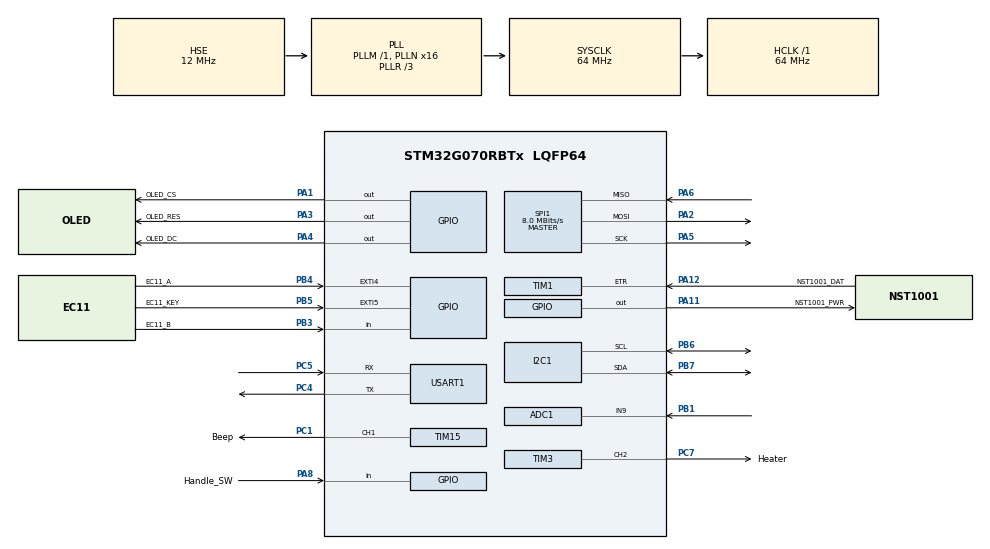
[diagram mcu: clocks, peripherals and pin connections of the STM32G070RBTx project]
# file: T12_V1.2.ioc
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ADC1.ContinuousConvMode=ENABLE
ADC1.NbrOfConversion=1
ADC1.NbrOfConversionFlag=0
ADC1.Overrun=ADC_OVR_DATA_OVERWRITTEN
ADC1.SamplingTimeCommon1=ADC_SAMPLETIME_1CYCLE_5
ADC1.SelectedChannel=ADC_CHANNEL_9
ADC1.Sequencer=NOT_FULLY_CONFIGURABLE
ADC1.master=1
FREERTOS.Tasks01=OLEDTask,-2,512,StartOLEDTask,Default,NULL,Dynamic,NULL,NULL;BeepTask,0,256,StartBeepTask,Default,NULL,Dynamic,NULL,NULL;TempTask,0,256,StartTempTask,Default,NULL,Dynamic,NULL,NULL;EEPROMTask,2,256,StartEEPROMTask,Default,NULL,Dynamic,NULL,NULL;PIDTask,3,256,StartPIDTask,Default,NULL,Dynamic,NULL,NULL
FREERTOS.configTOTAL_HEAP_SIZE=15360
I2C1.Timing=0x10707DBC
Mcu.Family=STM32G0
Mcu.Name=STM32G070RBTx
Mcu.Package=LQFP64
NVIC.EXTI4_15_IRQn=true\:3\:0\:false\:false\:true\:false\:true\:true\:true
NVIC.TIM17_IRQn=true\:3\:0\:false\:false\:true\:false\:false\:true\:true
NVIC.TimeBase=TIM17_IRQn
NVIC.TimeBaseIP=TIM17
PA1.GPIO_Label=OLED_CS
PA1.Signal=GPIO_Output
PA11\ [PA9].GPIO_Label=NST1001_PWR
PA11\ [PA9].GPIO_PuPd=GPIO_PULLUP
PA11\ [PA9].Signal=GPIO_Output
PA12\ [PA10].GPIO_Label=NST1001_DAT
PA12\ [PA10].Signal=S_TIM1_ETR
PA13.Mode=Serial_Wire
PA13.Signal=SYS_SWDIO
PA14-BOOT0.Mode=Serial_Wire
PA14-BOOT0.Signal=SYS_SWCLK
PA2.Mode=Full_Duplex_Master
PA2.Signal=SPI1_MOSI
PA3.GPIO_Label=OLED_RES
PA3.Signal=GPIO_Output
PA4.GPIO_Label=OLED_DC
PA4.Signal=GPIO_Output
PA5.Mode=Full_Duplex_Master
PA5.Signal=SPI1_SCK
PA6.Mode=Full_Duplex_Master
PA6.Signal=SPI1_MISO
PA8.GPIO_Label=Handle_SW
PA8.Signal=GPIO_Input
PB1.Mode=IN9
PB1.Signal=ADC1_IN9
PB3.GPIO_Label=EC11_B
PB3.Signal=GPIO_Input
PB4.GPIO_Label=EC11_A
PB4.GPIO_ModeDefaultEXTI=GPIO_MODE_IT_FALLING
PB4.GPIO_PuPd=GPIO_PULLUP
PB4.Signal=GPXTI4
PB5.GPIO_Label=EC11_KEY
PB5.GPIO_PuPd=GPIO_PULLDOWN
PB5.Signal=GPXTI5
PB6.GPIO_Pu=GPIO_PULLUP
PB6.Mode=I2C
PB6.Signal=I2C1_SCL
PB7.GPIO_Pu=GPIO_PULLUP
PB7.Mode=I2C
PB7.Signal=I2C1_SDA
PC1.GPIO_Label=Beep
PC1.Signal=S_TIM15_CH1
PC4.Mode=Asynchronous
PC4.Signal=USART1_TX
PC5.Mode=Asynchronous
PC5.Signal=USART1_RX
PC7.GPIO_Label=Heater
PC7.Signal=S_TIM3_CH2
PF0-OSC_IN\ (PF0).Mode=HSE-External-Oscillator
PF0-OSC_IN\ (PF0).Signal=RCC_OSC_IN
PF1-OSC_OUT\ (PF1).Mode=HSE-External-Oscillator
PF1-OSC_OUT\ (PF1).Signal=RCC_OSC_OUT
ProjectManager.HeapSize=0x200
ProjectManager.StackSize=0x400
ProjectManager.TargetToolchain=STM32CubeIDE
RCC.ADCFreq_Value=64000000
RCC.AHBFreq_Value=64000000
RCC.CortexFreq_Value=64000000
RCC.EXTERNAL_CLOCK_VALUE=48000
RCC.HCLKFreq_Value=64000000
RCC.HSE_VALUE=12000000
RCC.HSI_VALUE=16000000
RCC.LSE_VALUE=32768
RCC.PLLN=16
RCC.PLLR=RCC_PLLR_DIV3
RCC.PLLSourceVirtual=RCC_PLLSOURCE_HSE
RCC.SYSCLKFreq_VALUE=64000000
RCC.SYSCLKSource=RCC_SYSCLKSOURCE_PLLCLK
RCC.VCOOutputFreq_Value=192000000
SH.S_TIM15_CH1.0=TIM15_CH1,PWM Generation1 CH1
SH.S_TIM1_ETR.0=TIM1_ETR,ClockSourceETR_Mode2
SH.S_TIM3_CH2.0=TIM3_CH2,PWM Generation2 CH2
SPI1.BaudRatePrescaler=SPI_BAUDRATEPRESCALER_8
SPI1.CalculateBaudRate=8.0 MBits/s
SPI1.DataSize=SPI_DATASIZE_8BIT
SPI1.Direction=SPI_DIRECTION_2LINES
SPI1.Mode=SPI_MODE_MASTER
SPI1.VirtualType=VM_MASTER
TIM15.Channel-PWM\ Generation1\ CH1=TIM_CHANNEL_1
TIM15.Period=500-1
TIM15.Prescaler=128-1
TIM15.Pulse-PWM\ Generation1\ CH1=250-1
TIM3.Channel-PWM\ Generation2\ CH2=TIM_CHANNEL_2
TIM3.Period=1000-1
TIM3.Prescaler=128-1
TIM3.Pulse-PWM\ Generation2\ CH2=10
USART1.VirtualMode-Asynchronous=VM_ASYNC
VP_FREERTOS_VS_CMSIS_V1.Mode=CMSIS_V1
VP_SYS_VS_DBSignals.Mode=DisableDeadBatterySignals
VP_SYS_VS_tim17.Mode=TIM17
board=custom

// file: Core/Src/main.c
/* USER CODE BEGIN Header */
/**
  ******************************************************************************
  * @file           : main.c
  * @brief          : Main program body
  ******************************************************************************
  * @attention
  *
  * Copyright (c) 2022 STMicroelectronics.
  * All rights reserved.
  *
  * This software is licensed under terms that can be found in the LICENSE file
  * in the root directory of this software component.
  * If no LICENSE file comes with this software, it is provided AS-IS.
  *
  ******************************************************************************
  */
/* USER CODE END Header */
#include "main.h"
#include "cmsis_os.h"
#include "adc.h"
#include "i2c.h"
#include "spi.h"
#include "tim.h"
#include "usart.h"
#include "gpio.h"

void SystemClock_Config(void);
void MX_FREERTOS_Init(void);

int main(void)
{

  /* MCU Configuration--------------------------------------------------------*/

  /* Reset of all peripherals, Initializes the Flash interface and the Systick. */
  HAL_Init();

  /* Configure the system clock */
  SystemClock_Config();

  /* Initialize all configured peripherals */
  MX_GPIO_Init();
  MX_ADC1_Init();
  MX_I2C1_Init();
  MX_SPI1_Init();
  MX_TIM1_Init();
  MX_TIM3_Init();
  MX_TIM15_Init();
  MX_USART1_UART_Init();

  /* Call init function for freertos objects (in freertos.c) */
  MX_FREERTOS_Init();

  /* Start scheduler */
  osKernelStart();

  /* We should never get here as control is now taken by the scheduler */
  /* Infinite loop */
  while (1)
  {

  }
}

void SystemClock_Config(void)
{
  RCC_OscInitTypeDef RCC_OscInitStruct = {0};
  RCC_ClkInitTypeDef RCC_ClkInitStruct = {0};

  /** Configure the main internal regulator output voltage
  */
  HAL_PWREx_ControlVoltageScaling(PWR_REGULATOR_VOLTAGE_SCALE1);

  /** Initializes the RCC Oscillators according to the specified parameters
  * in the RCC_OscInitTypeDef structure.
  */
  RCC_OscInitStruct.OscillatorType = RCC_OSCILLATORTYPE_HSE;
  RCC_OscInitStruct.HSEState = RCC_HSE_ON;
  RCC_OscInitStruct.PLL.PLLState = RCC_PLL_ON;
  RCC_OscInitStruct.PLL.PLLSource = RCC_PLLSOURCE_HSE;
  RCC_OscInitStruct.PLL.PLLM = RCC_PLLM_DIV1;
  RCC_OscInitStruct.PLL.PLLN = 16;
  RCC_OscInitStruct.PLL.PLLP = RCC_PLLP_DIV2;
  RCC_OscInitStruct.PLL.PLLR = RCC_PLLR_DIV3;
  if (HAL_RCC_OscConfig(&RCC_OscInitStruct) != HAL_OK)
  {
    Error_Handler();
  }

  /** Initializes the CPU, AHB and APB buses clocks
  */
  RCC_ClkInitStruct.ClockType = RCC_CLOCKTYPE_HCLK|RCC_CLOCKTYPE_SYSCLK
                              |RCC_CLOCKTYPE_PCLK1;
  RCC_ClkInitStruct.SYSCLKSource = RCC_SYSCLKSOURCE_PLLCLK;
  RCC_ClkInitStruct.AHBCLKDivider = RCC_SYSCLK_DIV1;
  RCC_ClkInitStruct.APB1CLKDivider = RCC_HCLK_DIV1;

  if (HAL_RCC_ClockConfig(&RCC_ClkInitStruct, FLASH_LATENCY_2) != HAL_OK)
  {
    Error_Handler();
  }
}

void HAL_TIM_PeriodElapsedCallback(TIM_HandleTypeDef *htim)
{
  if (htim->Instance == TIM17) {
    HAL_IncTick();
  }
}

void Error_Handler(void)
{
  __disable_irq();
  while (1)
  {
  }
}

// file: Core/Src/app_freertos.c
/* USER CODE BEGIN Header */
/**
  ******************************************************************************
  * File Name          : app_freertos.c
  * Description        : Code for freertos applications
  ******************************************************************************
  * @attention
  *
  * Copyright (c) 2022 STMicroelectronics.
  * All rights reserved.
  *
  * This software is licensed under terms that can be found in the LICENSE file
  * in the root directory of this software component.
  * If no LICENSE file comes with this software, it is provided AS-IS.
  *
  ******************************************************************************
  */
/* USER CODE END Header */

#include "FreeRTOS.h"
#include "task.h"
#include "main.h"
#include "cmsis_os.h"

/* USER CODE BEGIN Includes */
#include "logging.h"
#include "stdio.h"
#include "tim.h"
#include "adc.h"
#include "nst1001.h"
#include "OLED_u8g2.h"
#include "emoji.h"
#include "icon.h"
#include "ee24.h"
#include "PID.h"
/* USER CODE END Includes */

/* USER CODE BEGIN PD */
#define PAGE_HOME       1
#define PAGE_SETTINGS   2
#define PAGE_DORMANCY   3
#define PAGE_SETTINGS_1 4
#define PAGE_SETTINGS_2 5
#define PAGE_SETTINGS_3 6
/* USER CODE END PD */

/* USER CODE BEGIN PM */
int OLED_Return();
/* USER CODE END PM */

/* USER CODE BEGIN Variables */
enum LOGGING_LEVEL LOG_LEVEL = LOGGING_LEVEL_FATAL;
uint8_t Global_Beep_Enable = 1;
uint8_t Global_Beep = 0;

uint8_t Global_WriteEEPROM = 0;

uint16_t Global_Dormancy_Time = 300;
uint8_t Global_Dormancy_Temp = 150;
uint16_t Global_DormancyCNT = 0;
uint8_t Global_Dormancy = 0;

uint8_t Global_OLED_SW = 1;
uint8_t Global_OLED_Pause = 0;
uint8_t Global_OLED_Input = 0;
uint8_t Global_OLED_Time = 0;

extern uint8_t Global_PID_P;
extern uint8_t Global_PID_I;
extern uint8_t Global_PID_D;

double Target_vol;
double Room_Temp = 0;
uint16_t Target_Temp = 0;
uint16_t Heater_Temp = 0;

int16_t PWM_DC = 0;

MENU_T menu_lists[] = {
        {.id=0, .level=0, .text_info="Temperature", .last=&menu_lists[2], .next=&menu_lists[1], .sub_menus=&menu_lists[3], .func=NULL},
        {.id=1, .level=0, .text_info="Interact"   , .last=&menu_lists[0], .next=&menu_lists[2], .sub_menus=&menu_lists[7], .func=NULL},
        {.id=2, .level=0, .text_info="Dormancy"   , .last=&menu_lists[1], .next=&menu_lists[0], .sub_menus=&menu_lists[9], .func=NULL},

        {.id=0, .level=1, .text_info="Return",.last=NULL          , .next=&menu_lists[4], .sub_menus=&menu_lists[0], .func=OLED_Return},
        {.id=1, .level=1, .text_info="P"     ,.last=&menu_lists[3], .next=&menu_lists[5], .sub_menus=&menu_lists[3], .func=NULL},
        {.id=2, .level=1, .text_info="I"     ,.last=&menu_lists[4], .next=&menu_lists[6], .sub_menus=&menu_lists[3], .func=NULL},
        {.id=3, .level=1, .text_info="D"     ,.last=&menu_lists[5], .next=NULL          , .sub_menus=&menu_lists[3], .func=NULL},

        {.id=0, .level=2, .text_info="Return",.last=NULL          , .next=&menu_lists[8], .sub_menus=&menu_lists[0], .func=OLED_Return},
        {.id=1, .level=2, .text_info="Beep"  ,.last=&menu_lists[7], .next=NULL          , .sub_menus=&menu_lists[7], .func=NULL},

        {.id=0, .level=3, .text_info="Return",.last=NULL          , .next=&menu_lists[10], .sub_menus=&menu_lists[0] , .func=OLED_Return},
        {.id=1, .level=3, .text_info="Time" ,.last=&menu_lists[9], .next=&menu_lists[11], .sub_menus=&menu_lists[9] , .func=NULL},
        {.id=2, .level=3, .text_info="Temp" ,.last=&menu_lists[10], .next=NULL          , .sub_menus=&menu_lists[9] , .func=NULL},
};

MENU_T *Global_menu = &menu_lists[0];

/* USER CODE END Variables */
osThreadId OLEDTaskHandle;
osThreadId BeepTaskHandle;
osThreadId TempTaskHandle;
osThreadId EEPROMTaskHandle;
osThreadId PIDTaskHandle;

void StartOLEDTask(void const *argument);

void StartBeepTask(void const *argument);

void StartTempTask(void const *argument);

void StartEEPROMTask(void const *argument);

void StartPIDTask(void const *argument);

void MX_FREERTOS_Init(void); /* (MISRA C 2004 rule 8.1) */

void MX_FREERTOS_Init(void) {

    /* Create the thread(s) */
    /* definition and creation of OLEDTask */
    osThreadDef(OLEDTask, StartOLEDTask, osPriorityLow, 0, 512);
    OLEDTaskHandle = osThreadCreate(osThread(OLEDTask), NULL);

    /* definition and creation of BeepTask */
    osThreadDef(BeepTask, StartBeepTask, osPriorityNormal, 0, 256);
    BeepTaskHandle = osThreadCreate(osThread(BeepTask), NULL);

    /* definition and creation of TempTask */
    osThreadDef(TempTask, StartTempTask, osPriorityNormal, 0, 256);
    TempTaskHandle = osThreadCreate(osThread(TempTask), NULL);

    /* definition and creation of EEPROMTask */
    osThreadDef(EEPROMTask, StartEEPROMTask, osPriorityHigh, 0, 256);
    EEPROMTaskHandle = osThreadCreate(osThread(EEPROMTask), NULL);

    /* definition and creation of PIDTask */
    osThreadDef(PIDTask, StartPIDTask, osPriorityRealtime, 0, 256);
    PIDTaskHandle = osThreadCreate(osThread(PIDTask), NULL);

}

void StartOLEDTask(void const *argument) {
    /* USER CODE BEGIN StartOLEDTask */
    u8g2_t u8g2;
    uint8_t direction = 1;
    uint8_t index = 0;
    uint8_t target_X;
    uint8_t current_X = 8;
    uint16_t delay_time = 0;
    char buff[18];

    HAL_GPIO_WritePin(OLED_RES_GPIO_Port, OLED_RES_Pin, GPIO_PIN_SET);
    u8g2Init(&u8g2);
    /* Infinite loop */
    for (;;) {
        // Clear OLED Buffer
        u8g2_ClearBuffer(&u8g2);
        // Select Which to Show:
        switch (Global_OLED_SW) {
            case PAGE_HOME:{
                // Show Target Temperature
                sprintf(buff, "SET:%03d °C", Target_Temp);
                u8g2_SetFont(&u8g2, u8g2_font_ncenB08_tf);
                u8g2_DrawUTF8(&u8g2, 0, 16, buff);
                // Show Room Temperature
                sprintf(buff, "%02d °C", (int) Room_Temp);
                u8g2_DrawUTF8(&u8g2, 100, 16, buff);
                // Show Current Temperature
                sprintf(buff, "%03d°C", Heater_Temp);
                u8g2_SetFont(&u8g2, u8g2_font_ncenB24_tf);
                u8g2_DrawUTF8(&u8g2, 18, 48, buff);
                // Show Slogan
//            sprintf(buff, "Create the Future");
//            u8g2_SetFont(&u8g2, u8g2_font_ncenB08_tf);
//            u8g2_DrawStr(&u8g2, 18, 64, buff);
                // Show Output Power
                u8g2_DrawFrame(&u8g2, 8, 56, 112, 8);
                u8g2_DrawBox(&u8g2, 8, 56, (int) (112 * PWM_DC / 1000.0), 8);
                // Send OLED Buffer
                u8g2_SendBuffer(&u8g2);
                // Show@10fps
                osDelay(100);
                break;
            }
            case PAGE_DORMANCY:{
                if(Global_OLED_Pause && HAL_GetTick() - delay_time < 8000){
                    osDelay(1);
                    continue;
                }
                // Draw Emoji
                u8g2_DrawXBM(&u8g2, 32, 19, 64, 26, emoji[index]);
                // Update index
                index = direction ? index + 1 : index - 1;
                // Update direction
                if (index == 9 || index == 0) {
                    direction = !direction;
                }
                // Update pause
                Global_OLED_Pause = (index == 0);
                // Send OLED Buffer
                u8g2_SendBuffer(&u8g2);
                // Delay for Show
                delay_time = HAL_GetTick();
                // Show@100fps
                osDelay(10);
                break;
            }
            case PAGE_SETTINGS:{
                // Draw Icon
                for(uint8_t i=0;i<3;i++){
                    u8g2_DrawXBM(&u8g2, 8+40*i, 10, 32, 32, icons[i]);
                }
                // Draw String
                sprintf(buff,"%s", Global_menu->text_info);
                u8g2_SetFont(&u8g2, u8g2_font_ncenB08_tf);
                u8g2_DrawUTF8(&u8g2, (128 - u8g2_GetStrWidth(&u8g2, buff)) / 2, 56, buff);
                // Draw Selection Box
                target_X = 8 + Global_menu->id * 40;
                if (current_X < target_X) {
                    current_X += 4;
                }
                if (current_X > target_X) {
                    current_X -= 4;
                }
                u8g2_DrawFrame(&u8g2, current_X, 10, 32, 32);
                // Flash
                u8g2_SendBuffer(&u8g2);
                osDelay(17);
                break;
            }
            case PAGE_SETTINGS_1:{
                MENU_T *menu;
                // Draw Menu items
                u8g2_SetFont(&u8g2, u8g2_font_ncenB08_tf);
                for (menu = &menu_lists[3]; menu; menu = menu->next){
                    sprintf(buff, "%s", menu->text_info);
                    u8g2_DrawUTF8(&u8g2, 16, 14*(1+menu->id), buff);
                    if(menu->id == Global_menu->id){
                        u8g2_DrawTriangle(&u8g2,3,14*(1+menu->id)-8,3,14*(1+menu->id),6,14*(1+menu->id)-4);
                    }
                }
                // Draw key value
                sprintf(buff, "%d", Global_PID_P);
                u8g2_DrawUTF8(&u8g2, 100, 14*2, buff);
                sprintf(buff, "%d", Global_PID_I);
                u8g2_DrawUTF8(&u8g2, 100, 14*3, buff);
                sprintf(buff, "%d", Global_PID_D);
                u8g2_DrawUTF8(&u8g2, 100, 14*4, buff);
                // Send OLED Buffer
                u8g2_SendBuffer(&u8g2);
                osDelay(17);
                break;
            }
            case PAGE_SETTINGS_2:{
                MENU_T *menu;
                // Draw Menu items
                u8g2_SetFont(&u8g2, u8g2_font_ncenB08_tf);
                for (menu = &menu_lists[7]; menu; menu = menu->next){
                    sprintf(buff, "%s", menu->text_info);
                    u8g2_DrawUTF8(&u8g2, 16, 14*(1+menu->id), buff);
                    if(menu->id == Global_menu->id){
                        u8g2_DrawTriangle(&u8g2,3,14*(1+menu->id)-8,3,14*(1+menu->id),6,14*(1+menu->id)-4);
                    }
                }
                // Draw key value
                u8g2_SetFont(&u8g2, u8g2_font_unifont_t_symbols);
                if(Global_Beep_Enable){
                    u8g2_DrawGlyph(&u8g2,100,28,0x2714);
                }
                else{
                    u8g2_DrawGlyph(&u8g2,100,30,0x2715);
                }
                // Send OLED Buffer
                u8g2_SendBuffer(&u8g2);
                osDelay(17);
                break;
            }
            case PAGE_SETTINGS_3:{
                MENU_T *menu;
                // Draw Menu items
                u8g2_SetFont(&u8g2, u8g2_font_ncenB08_tf);
                for (menu = &menu_lists[9]; menu; menu = menu->next){
                    sprintf(buff, "%s", menu->text_info);
                    u8g2_DrawUTF8(&u8g2, 16, 14*(1+menu->id), buff);
                    if(menu->id == Global_menu->id){
                        u8g2_DrawTriangle(&u8g2,3,14*(1+menu->id)-8,3,14*(1+menu->id),6,14*(1+menu->id)-4);
                    }
                }
                // Draw key value
                sprintf(buff, "%d", Global_Dormancy_Time);
                u8g2_DrawUTF8(&u8g2, 100, 14*2, buff);
                sprintf(buff, "%d", Global_Dormancy_Temp);
                u8g2_DrawUTF8(&u8g2, 100, 14*3, buff);
                // Send OLED Buffer
                u8g2_SendBuffer(&u8g2);
                osDelay(17);
                break;
            }
            default:{
                osDelay(1);
                break;
            }
        }
    }
    /* USER CODE END StartOLEDTask */
}

void StartBeepTask(void const *argument) {
    /* USER CODE BEGIN StartBeepTask */
    /* Infinite loop */
    for (;;) {
        if (Global_Beep_Enable && Global_Beep) {
            HAL_TIM_PWM_Start(&htim15, TIM_CHANNEL_1);
            osDelay(100);
            HAL_TIM_PWM_Stop(&htim15, TIM_CHANNEL_1);
            Global_Beep = 0;
        }
        osDelay(1);
    }
    /* USER CODE END StartBeepTask */
}

void StartTempTask(void const *argument) {
    /* USER CODE BEGIN StartTempTask */
    /* Infinite loop */
    for (;;) {
        /* Get Thermocouple Cold Junction Temperature*/
        Room_Temp = NST1001_Start_Measurement();
        LOGGING_I(LOG_LEVEL, "Room Temperature: %f", Room_Temp);
        /* Count to turn on Dormancy Mode*/
        if (Global_Dormancy == 0) {
            Global_OLED_Pause = 0;
            printf("Dormancy: %d \r\n",Global_DormancyCNT);
            if (Global_DormancyCNT > Global_Dormancy_Time*20) {
                Global_Dormancy = 1;
                Global_OLED_SW = 3;
            }
        }

        if(Global_OLED_SW == PAGE_SETTINGS){
            Global_OLED_Time++;
            if(Global_OLED_Time > 6){
                Global_OLED_SW = PAGE_HOME;
            }
        }

        osDelay(1000);
    }
    /* USER CODE END StartTempTask */
}

void StartEEPROMTask(void const *argument) {
    /* USER CODE BEGIN StartEEPROMTask */
    //Read Target Temperature From EEPROM
    uint8_t temp_h, temp_l;
    if (ee24_isConnected()) {
        ee24_read(0, &temp_h, 1, 200);
        ee24_read(1, &temp_l, 1, 200);
        Target_Temp = (temp_h << 8) | temp_l;
        // Prevent Reading Wrong Data
        if (Target_Temp > 500) {
            Target_Temp = 500;
        }
        // Convert Temperature to Voltage
        Target_vol = (Target_Temp - 29.555) / 53.287;
    }
    /* Infinite loop */
    for (;;) {
        if (Global_WriteEEPROM) {
            //Write Target Temperature To EEPROM
            temp_h = (Target_Temp >> 8) & 0xFF;
            temp_l = (Target_Temp & 0xFF);
            ee24_write(0, &temp_h, 1, 200);
            ee24_write(1, &temp_l, 1, 200);
            Global_WriteEEPROM = 0;
        }
        osDelay(10000);
    }
    /* USER CODE END StartEEPROMTask */
}

void StartPIDTask(void const *argument) {
    /* USER CODE BEGIN StartPIDTask */
    double ADC_Value[5];
    double ADC_vol;
    HAL_ADC_Start(&hadc1);
    /* Infinite loop */
    for (;;) {
        HAL_TIM_PWM_Stop(&htim3, TIM_CHANNEL_2);
        osDelay(5);
        HAL_ADC_PollForConversion(&hadc1, 100);

        // Get Dormancy CNT
        if (HAL_GPIO_ReadPin(Handle_SW_GPIO_Port, Handle_SW_Pin) == GPIO_PIN_RESET) {
            Global_DormancyCNT++;
        }
        else {
            Global_DormancyCNT = 0;
            if(Global_Dormancy){
                Global_Dormancy = 0;
                Global_Beep = 1;
                Global_OLED_SW = 1;
            }
        }

        // Mean Filter
        ADC_Value[4] = ADC_Value[3];
        ADC_Value[3] = ADC_Value[2];
        ADC_Value[2] = ADC_Value[1];
        ADC_Value[1] = ADC_Value[0];
        ADC_Value[0] = HAL_ADC_GetValue(&hadc1) / 4095.0 * 2.5 / 250 * 1000;
        ADC_vol = (ADC_Value[4] + ADC_Value[3] + ADC_Value[2] + ADC_Value[1] + ADC_Value[0]) / 5.0;

        // Convert Voltage to Temperature
        Heater_Temp = (uint16_t) (ADC_vol * 53.287 + 29.555);
        LOGGING_I(LOG_LEVEL, "Raw Voltage: %f mV", ADC_vol);

        // PID Operation
        PWM_DC = PWM_DC + (int16_t) PID_Increase(Target_vol, ADC_vol);
        // Limiting Operation
        if (PWM_DC > 1000) PWM_DC = 1000;
        if (PWM_DC < 0) PWM_DC = 0;

//        printf("%f,%d\n", ADC_vol, PWM_DC);
        LOGGING_I(LOG_LEVEL, "PWM DC: %d", PWM_DC);

        // Set Duty Cycle
        __HAL_TIM_SET_COMPARE(&htim3, TIM_CHANNEL_2, PWM_DC);
        HAL_TIM_PWM_Start(&htim3, TIM_CHANNEL_2);

        osDelay(50);
    }
    /* USER CODE END StartPIDTask */
}

/* USER CODE BEGIN Application */
int OLED_Return(){
    Global_menu = Global_menu->sub_menus;
    Global_OLED_SW = PAGE_SETTINGS;
    return 0;
}
/* USER CODE END Application */
